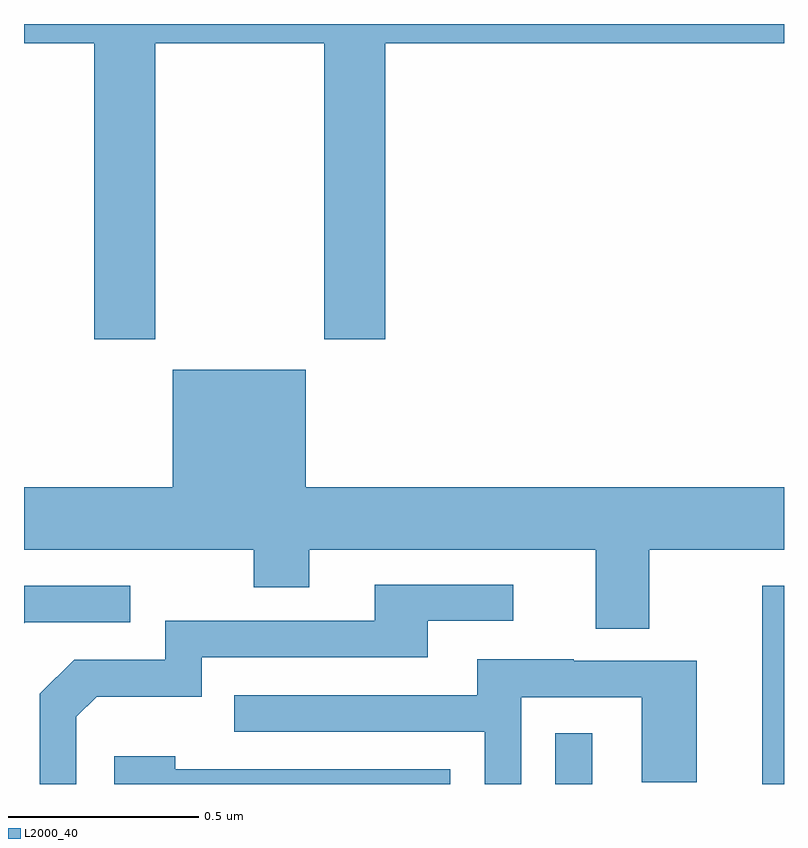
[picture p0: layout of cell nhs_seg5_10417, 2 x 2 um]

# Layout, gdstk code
import gdstk
lib = gdstk.Library(unit=1e-6, precision=1e-09)
def R(c, l, rs):  # rectangles x0, y0, x1, y1
    for r in rs: c.add(gdstk.rectangle(r[:2], r[2:], *l))
def P(c, l, *ps):  # polygons
    for p in ps: c.add(gdstk.Polygon(p, *l))
L2000_40 = (2000, 40)

nhs_seg5_10417 = lib.new_cell('nhs_seg5_10417')
R(nhs_seg5_10417, L2000_40, [(247.398,866.799,247.495,866.932), (247.943,866.799,248,867.321)])
P(nhs_seg5_10417, L2000_40, [(246.345,868.748),(246.79,868.748),(246.79,867.969),(246.95,867.969),(246.95,868.748),(248,868.748),(248,868.799),(246,868.799),(246,868.748),(246.185,868.748),(246.185,867.969),(246.345,867.969)],
  [(247.645,867.416),(248,867.416),(248,867.58),(246.742,867.58),(246.742,867.889),(246.392,867.889),(246.392,867.58),(246,867.58),(246,867.416),(246.604,867.416),(246.604,867.317),(246.751,867.317),(246.751,867.416),(247.505,867.416),(247.505,867.208),(247.645,867.208)],
  [(246.138,866.976),(246.191,867.029),(246.468,867.029),(246.468,867.132),(247.063,867.132),(247.063,867.228),(247.288,867.228),(247.288,867.324),(246.923,867.324),(246.923,867.228),(246.372,867.228),(246.372,867.126),(246.132,867.126),(246.042,867.036),(246.042,866.799),(246.138,866.799)],
  [(246.003,867.225),(246.28,867.225),(246.28,867.321),(246,867.321),(246,867.222)],
  [(247.308,867.027),(247.626,867.027),(247.626,866.803),(247.771,866.803),(247.771,867.123),(247.447,867.123),(247.447,867.127),(247.193,867.127),(247.193,867.033),(246.553,867.033),(246.553,866.937),(247.212,866.937),(247.212,866.799),(247.308,866.799)],
  [(247.122,866.838),(246.398,866.838),(246.398,866.872),(246.237,866.872),(246.237,866.799),(247.122,866.799)])

lib.write_gds('nhs_seg5_10417.gds')
